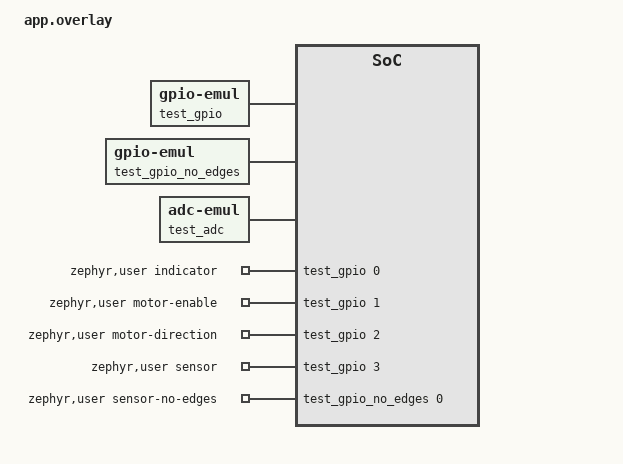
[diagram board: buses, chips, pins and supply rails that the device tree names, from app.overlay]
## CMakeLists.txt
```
# Suíte da camada hw/: testa os módulos de hardware com drivers emulados do
# Zephyr (gpio-emul), sem falsos do FFF. Fica separada de tests/unit porque lá
# o FFF substitui funções de hw/, e as duas versões não podem coexistir num
# mesmo binário. O curso encontra esta suíte por estar em student/tests/<suíte>/.
cmake_minimum_required(VERSION 3.20.0)
list(APPEND BOARD_ROOT ${CMAKE_CURRENT_SOURCE_DIR}/../../../hardware)
list(APPEND DTS_ROOT ${CMAKE_CURRENT_SOURCE_DIR}/../../../hardware)
find_package(Zephyr REQUIRED HINTS $ENV{ZEPHYR_BASE})
project(parking_student_hw)

# hw/indicator: uma saída liga/desliga.
target_include_directories(app PRIVATE ../../src/include)
target_sources(app PRIVATE
	indicator/test_indicator.c
	../../src/hw/src/indicator.c
)

# hw/motor: enable + direção (reaproveita hw/indicator).
target_sources(app PRIVATE
	motor/test_motor.c
	../../src/hw/src/motor.c
)

# hw/sensor: entrada com interrupção nas duas bordas.
target_sources(app PRIVATE
	sensor/test_sensor.c
	../../src/hw/src/sensor.c
)
# hw/uart_line: leitura sem bloquear, sobre zephyr,uart-emul.
target_sources(app PRIVATE
	uart_line/test_uart_line.c
	../../src/hw/src/uart_line.c
)

# hw/adc4: uma conversão assíncrona por vez, sobre zephyr,adc-emul.
target_sources(app PRIVATE
	adc4/test_adc4.c
	../../src/hw/src/adc4.c
)

# hw/st7789: display no SPI1 da placa (modelo real do Renode).
target_sources(app PRIVATE
	st7789/test_st7789.c
	../../src/hw/src/st7789.c
)
# Caminhos de erro que os emuladores não produzem: dispositivo não pronto
# (um dispositivo de teste cujo init falha) e o __ASSERT do sensor.
target_sources(app PRIVATE errors/test_errors.c)
# Não inclua main.c: a suíte tem o próprio ponto de entrada (ztest).
```

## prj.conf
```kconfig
CONFIG_ZTEST=y
CONFIG_CONSOLE=y
CONFIG_UART_CONSOLE=y
CONFIG_PRINTK=y
CONFIG_SERIAL=y
CONFIG_PM=n
CONFIG_GPIO=y
# Emulated UART and ADC (app.overlay) for hw/uart_line and hw/adc4.
CONFIG_EMUL=y
CONFIG_UART_EMUL=y
CONFIG_ADC=y
CONFIG_ADC_ASYNC=y
CONFIG_ADC_EMUL=y
# hw/st7789 runs on the board's real SPI and display model.
CONFIG_SPI=y
# Expected asserts end the test thread instead of halting (tests of
# programming errors: invalid lane, NULL handler).
CONFIG_ZTEST_ASSERT_HOOK=y
CONFIG_ASSERT_TEST=y
```

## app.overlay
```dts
/*
 * Only for this test suite: emulated GPIO controllers (software only, no
 * Renode peripheral) and the pins the tests drive through hw/.
 */
#include <zephyr/dt-bindings/gpio/gpio.h>

/ {
	/* Main test controller: interrupts on both edges, like the board's EXTI. */
	test_gpio: gpio-emul {
		compatible = "zephyr,gpio-emul";
		gpio-controller;
		#gpio-cells = <2>;
		ngpios = <8>;
		rising-edge;
		falling-edge;
		status = "okay";
	};

	/* No edge interrupts: makes sensor_init() fail on purpose. */
	test_gpio_no_edges: gpio-emul-no-edges {
		compatible = "zephyr,gpio-emul";
		gpio-controller;
		#gpio-cells = <2>;
		ngpios = <8>;
		status = "okay";
	};

	/* Emulated UART: hw/uart_line reads what the test puts in its RX FIFO. */
	test_uart: uart-emul {
		compatible = "zephyr,uart-emul";
		current-speed = <115200>;
		rx-fifo-size = <64>;
		tx-fifo-size = <64>;
		status = "okay";
	};

	/* Emulated ADC: hw/adc4 converts the raw values the test sets per channel. */
	test_adc: adc-emul {
		compatible = "zephyr,adc-emul";
		nchannels = <8>;
		ref-internal-mv = <3300>;
		#io-channel-cells = <1>;
		status = "okay";
	};

	zephyr,user {
		indicator-gpios = <&test_gpio 0 GPIO_ACTIVE_HIGH>;
		motor-enable-gpios = <&test_gpio 1 GPIO_ACTIVE_HIGH>;
		motor-direction-gpios = <&test_gpio 2 GPIO_ACTIVE_HIGH>;
		sensor-gpios = <&test_gpio 3 GPIO_ACTIVE_HIGH>;
		sensor-no-edges-gpios = <&test_gpio_no_edges 0 GPIO_ACTIVE_HIGH>;
	};
};
```

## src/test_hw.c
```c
/**
 * @file test_hw.c
 * @brief Testes da camada de hardware (hw.c) com os drivers e modelos reais.
 *
 * A suíte roda na mesma máquina do Renode que o firmware: a cancela começa
 * fechada e o veículo longe (6000 mm).
 */

#include <errno.h>

#include <zephyr/kernel.h>
#include <zephyr/ztest.h>

#include "hw.h"

/** @brief Inicia o hardware e espera a primeira amostra dos sensores. */
static void *setup(void)
{
	zassert_ok(hw_init());
	k_msleep(30);
	return NULL;
}

ZTEST_SUITE(hw, NULL, setup, NULL, NULL, NULL);

ZTEST(hw, test_outputs_accept_safe_levels)
{
	for (int lane = 0; lane < HW_LANE_COUNT; lane++) {
		for (int out = 0; out < HW_OUT_COUNT; out++) {
			zassert_ok(hw_output_set(lane, out, out == HW_OUT_RED));
		}
	}
}

ZTEST(hw, test_inputs_report_closed_barrier)
{
	for (int lane = 0; lane < HW_LANE_COUNT; lane++) {
		zassert_equal(hw_input_get(lane, HW_IN_LIMIT_LOWER), 1);
		zassert_equal(hw_input_get(lane, HW_IN_LIMIT_UPPER), 0);
		zassert_equal(hw_input_get(lane, HW_IN_BEAM), 0);
	}
}

ZTEST(hw, test_camera_answers_at_command)
{
	static const uint8_t at[] = "AT\r\n";
	char reply[8] = {0};
	size_t len = 0;
	uint8_t byte;

	zassert_equal(hw_uart_read(HW_UART_CAMERA_ENTRY, &byte), -EAGAIN);
	zassert_ok(hw_uart_write(HW_UART_CAMERA_ENTRY, at, sizeof(at) - 1));
	for (int ms = 0; ms < 200 && len < 4; ms++) {
		if (hw_uart_read(HW_UART_CAMERA_ENTRY, &byte) == 0) {
			reply[len++] = (char)byte;
		} else {
			k_msleep(1);
		}
	}
	zassert_str_equal(reply, "OK\r\n");
}

ZTEST(hw, test_adc_converts_both_lanes)
{
	for (int lane = 0; lane < HW_LANE_COUNT; lane++) {
		uint16_t raw = 0;
		int err;

		zassert_ok(hw_adc_start(lane));
		for (int ms = 0; ms < 100; ms++) {
			err = hw_adc_poll(&raw);
			if (err != -EAGAIN) {
				break;
			}
			k_msleep(1);
		}
		zassert_ok(err);
		zassert_equal(raw, 4095, "faixa %d: %u", lane, raw);
	}
}

ZTEST(hw, test_display_primitives)
{
	static const uint8_t colmod = 0x55;
	static const uint8_t pixel[] = {0xF8, 0x00};

	zassert_ok(hw_display_reset(true));
	k_msleep(10);
	zassert_ok(hw_display_reset(false));
	zassert_ok(hw_display_cmd(0x01, NULL, 0));
	zassert_ok(hw_display_cmd(0x3A, &colmod, 1));
	zassert_ok(hw_display_data(pixel, sizeof(pixel)));
}
```
